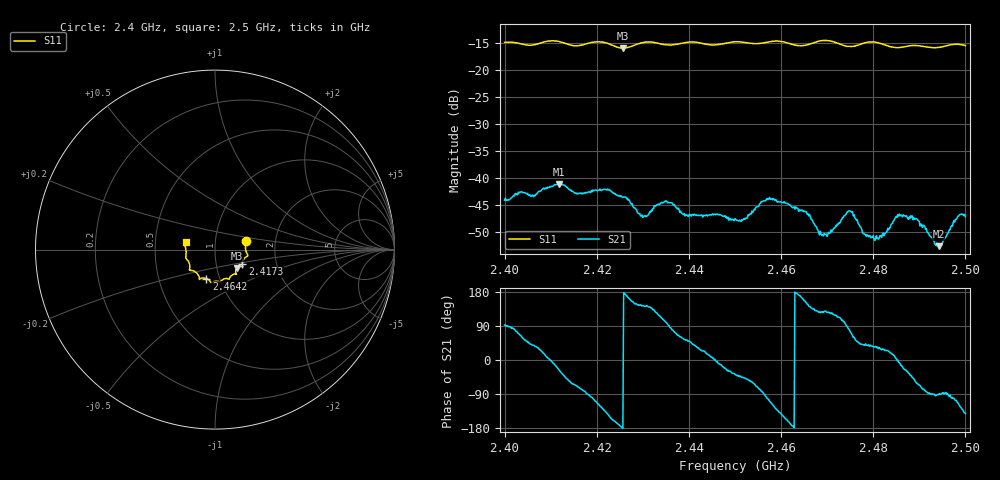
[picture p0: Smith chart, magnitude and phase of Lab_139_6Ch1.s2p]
# Hz S RI R 50
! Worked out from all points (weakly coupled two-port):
!   601 points, 2.4 GHz to 2.5 GHz, reference 50 ohm
!   highest |S21| = -41.04 dB at 2.4118 GHz (marker M1); lowest = -52.6 dB at 2.4942 GHz (marker M2)
!   lowest |S11| = -15.9 dB at 2.4257 GHz (marker M3), VSWR 1.38, Z = 62.4 - j13.1 ohm
!   |S11| at or under -10 dB: start of sweep to end of sweep
!   S12 and S22 are empty: the file has one direction only
!   S11 on the Smith chart (normalised r, x): 2.4 GHz: 1.41, +0.14; 2.4173 GHz: 1.34, -0.23; 2.4642 GHz: 0.86, -0.29; 2.5 GHz: 0.72, +0.06
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2.4e9  0.1738 0.0493  -0.000234 0.00626  0 0  0 0
2.411833e9  0.1803 -0.0362  0.00792 -0.004  0 0  0 0
2.416667e9  0.1528 -0.0747  0.00163 -0.00699  0 0  0 0
2.417333e9  0.1524 -0.0822  0.000885 -0.00722  0 0  0 0
2.422167e9  0.1509 -0.0946  -0.00595 -0.00498  0 0  0 0
2.425667e9  0.1223 -0.1026  -0.00665 -1.74e-05  0 0  0 0
2.43e9  0.1175 -0.1363  -0.00348 0.00259  0 0  0 0
2.433333e9  0.1125 -0.1365  -0.00284 0.00502  0 0  0 0
2.45e9  0.0293 -0.1807  0.00334 -0.0026  0 0  0 0
2.457333e9  -0.0154 -0.1818  -0.00172 -0.00618  0 0  0 0
2.464167e9  -0.0484 -0.1611  -0.00494 0.000947  0 0  0 0
2.466667e9  -0.0763 -0.1593  -0.00302 0.00286  0 0  0 0
2.469167e9  -0.0874 -0.1664  -0.00171 0.00238  0 0  0 0
2.474833e9  -0.1049 -0.1278  0.000935 0.00491  0 0  0 0
2.4785e9  -0.1385 -0.1157  0.00224 0.00183  0 0  0 0
2.480833e9  -0.1423 -0.1104  0.00234 0.00147  0 0  0 0
2.483333e9  -0.1403 -0.0894  0.00308 0.00129  0 0  0 0
2.4855e9  -0.147 -0.0671  0.00445 -0.000453  0 0  0 0
2.488667e9  -0.1623 -0.0478  0.0028 -0.00304  0 0  0 0
2.494167e9  -0.1621 0.000652  -3.7e-05 -0.00235  0 0  0 0
2.498333e9  -0.1704 0.0333  -0.00168 -0.00409  0 0  0 0
2.5e9  -0.1636 0.0415  -0.00344 -0.00273  0 0  0 0
